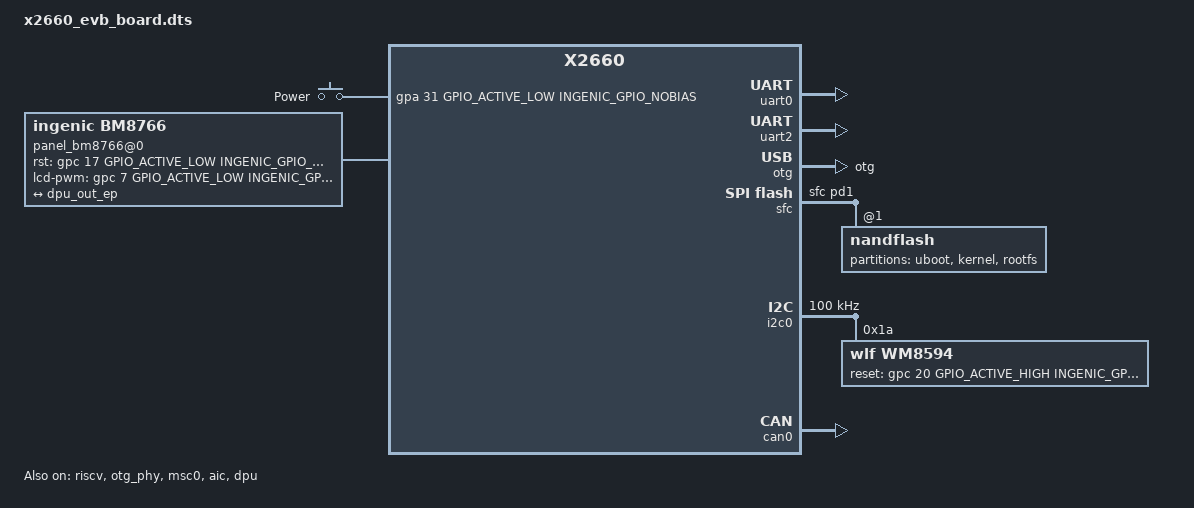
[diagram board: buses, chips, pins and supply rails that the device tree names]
/dts-v1/;

#include <dt-bindings/input/input.h>
#include "x2600.dtsi"

/ {
	compatible = "ingenic,x2660-evb-board", "ingenic,x2660";
	reserved-memory {
		#address-cells = <1>;
		#size-cells = <1>;
		ranges =<>;

		vdev0vring0: vdev0vring0@0x12400000{
		    compatible = "shared-dma-pool";
			reg = <0x12400000 0x1000>;
			no-map;
		};

		vdev0vring1: vdev0vring1@0x12401000{
		    compatible = "shared-dma-pool";
			reg = <0x12401000 0x1000>;
			no-map;
		};

		vdev0buffer: vdev0buffer@0x07F50000{
			 compatible = "shared-dma-pool";
			 reg = <0x07F50000 0x8000>;
		 };

		riscv_mcu_ram: riscv_mcu_ram@0x07F00000{
			 compatible = "shared-dma-pool";
			 reg = <0x07F00000 0x50000>;

		 };
	};

};

&riscv {
	status = "okay";
	memory-region=<&vdev0buffer &vdev0vring0 &vdev0vring1>;
	load-addr=<0x07f00000>;
};

&uart0 {
	status = "okay";
	pinctrl-names = "default";
	pinctrl-0 = <&uart0_pe>;
};

&uart2 {
	status = "okay";
	pinctrl-names = "default";
	pinctrl-0 = <&uart2_pd>;
};


//&pwm {
//	ingenic,pwm-outputs = <0>; /* <0 - 15> select which pwms are really used */
//}

&otg {
	g-use-dma;
	dr_mode = "otg"; // host,peripheral,otg
	status = "okay";
};

&otg_phy {
	ingenic,drvvbus-gpio = <&gpe 1 GPIO_ACTIVE_HIGH INGENIC_GPIO_NOBIAS>;
	status = "okay";
};

&msc0 {
	status = "okay";
	/*mmc-hs200-1_8v;*/
	pinctrl-names ="default";
	pinctrl-0 = <&msc0_4bit>;
	cap-mmc-highspeed;
	non-removable;
	max-frequency = <50000000>;
	bus-width = <4>;
	non-removable;
	voltage-ranges = <1800 3300>;

	/* special property */
	ingenic,wp-gpios = <0>;
	ingneic,cd-gpios = <0>;
	ingenic,rst-gpios = <0>;
};

&msc1 {
	status = "disable";
	/*mmc-hs200-1_8v;*/
	cap-mmc-highspeed;
	non-removable;
	max-frequency = <50000000>;
	bus-width = <4>;
	non-removable;
	voltage-ranges = <1800 3300>;

	/* special property */
	ingenic,wp-gpios = <0>;
	ingneic,cd-gpios = <0>;
	ingenic,rst-gpios = <0>;
};

/*
&mac0 {
	pinctrl-names = "default", "reset";
	pinctrl-0 = <&mac0_rgmii_p0_normal>, <&mac0_rgmii_p1_normal>;
	pinctrl-1 = <&mac0_rgmii_p0_rst>, <&mac0_rgmii_p1_normal>;
	status = "okay";
	ingenic,rst-gpio = <&gpb 0 GPIO_ACTIVE_LOW INGENIC_GPIO_NOBIAS>;
	ingenic,rst-ms = <10>;
	ingenic,mac-mode = <RGMII>;
	ingenic,mode-reg = <0xb00000e4>;
};
*/

&sfc {
	status = "okay";
	pinctrl-names = "default";
	pinctrl-0 = <&sfc_pd1>;
	ingenic,sfc-max-frequency = <200000000>;
	ingenic,sfc-init-frequency= <40000000>;
	ingenic,use_ofpart_info  = /bits/ 8 <0>;
	ingenic,spiflash_param_offset = <0>;

	nandflash@1 {
		partitions {
		compatible = "fixed-partitions";
		#address-cells = <1>;
		#size-cells = <1>;
		/* spi nand flash partition */
		partition@0 {
			label = "uboot";
			reg = <0x0000000 0x100000>;
		/*read-only;*/
		};
		partition@100000 {
			label = "kernel";
			reg = <0x100000 0x800000>;
		};
		partition@900000 {
			label = "rootfs";
			reg = <0x900000 0xf700000>;
		};
		};
	};

};

&aic {
	status = "okay";
	pinctrl-names = "default";
	pinctrl-0 = <&aic_pc>;
};

&i2c0{
	status = "okay";
	clock-frequency = <100000>;
	// timeout = <1000>;
	pinctrl-names = "default";
	pinctrl-0 = <&i2c0_pc>;

	wm8594: wm8594@0x1a{
		compatible = "wlf,wm8594";
		reg = <0x1a>;
		status = "okay";
		reset-gpios = <&gpc 20 GPIO_ACTIVE_HIGH INGENIC_GPIO_NOBIAS>;
	};
};

/ {

	extclk: extclk {
		clock-frequency = <24000000>;
	};

	gpio_keys: gpio_keys {
		   compatible = "gpio-keys";

		   power {
			   label = "Power";
			   linux,code = <KEY_POWER>;
			   gpios = <&gpa 31 GPIO_ACTIVE_LOW INGENIC_GPIO_NOBIAS>;
			   gpio-key,wakeup;
		   };
	   };

	sound_x2660_cdc {
		status = "okay";
		compatible = "ingenic,x2660-sound";
		ingenic,model = "x2660";
		ingenic,dai-link = "i2s-ecodec";
		ingenic,stream = "i2s-ecodec";
		ingenic,cpu-dai = <&i2s>;
		ingenic,platform = <&aic>;
		ingenic,codec =  <&wm8594>;
		ingenic,codec-dai = "wm8594-hifi";
	};
};
&jpegd {
	    status = "disable";
};

&jpege {
	    status = "disable";
};

&felix {
	status = "disable";
};

&pdma {
	status = "okay";
};

&pdma1 {
	status = "disable";
};

&sadc{
	status = "disable";
	pinctrl-names = "default";
	pinctrl-0 = <&aux_all_pe>;
	ingenic,has_dma_support = <0>;

};

&can0 {
	status = "okay";
	pinctrl-names = "default";
	pinctrl-0 = <&can0_pin>;
	ingenic,clk-freq = <24000000>;
};

&dpu {
	status = "okay";
	ingenic,disable-rdma-fb = <1>;
	ingenic,enable-rotator = <1>;	//00->rdma
	//Defines the init state of composer fb export infomations.
	ingenic,layer-exported = <1 0 0 0>;
	ingenic,layer-frames   = <2 2 2 2>;
	ingenic,layer-framesize = <1920 1080>, <1920 1080>, <1920 1080>, <1920 1080>;   //Max framesize for each layer.
	layer,color_mode        = <0 0 0 0>;                                    //src fmt,
	layer,src-size          = <1920 1080>, <1920 1080>, <1920 1080>, <1920 1080>; //Layer src size should smaller than framesize
        layer,target-size       = <1920 1080>, <1920 1080>, <1920 1080>, <1920 1080>;  //Target Size should smaller than src_size.
	layer,target-pos        = <0 0>, <0 0>, <0 0>, <0 0>; //target pos , the start point of the target panel.
	layer,enable            = <1 0 0 0>;                                    //layer enabled or disabled.
	ingenic,logo-pan-layer  = <0>;                                          //on which layer should init logo pan on.
	port {
		dpu_out_ep: endpoint {
		    remote-endpoint = <&panel_bm8766_ep>;
	    };
	};
};
/ {
	display-dbi {
		compatible = "simple-bus";
		#interrupt-cells = <1>;
		#address-cells = <1>;
		#size-cells = <1>;
		ranges = <>;
		panel_bm8766@0 {
			compatible = "ingenic,bm8766";
			status = "okay";
			pinctrl-names = "default";
			pinctrl-0 = <&tft_lcd_pb>;
//	ingenic,vdd-en-gpio = <&gpc  GPIO_ACTIVE_HIGH INGENIC_GPIO_NOBIAS>;
			ingenic,rst-gpio = <&gpc 17 GPIO_ACTIVE_LOW INGENIC_GPIO_NOBIAS>;
			ingenic,lcd-pwm-gpio = <&gpc 7 GPIO_ACTIVE_LOW INGENIC_GPIO_NOBIAS>;
			port {
			panel_bm8766_ep: endpoint {
			 remote-endpoint = <&dpu_out_ep>;
				 };
			};
		};
	};
};

#ifdef CONFIG_STAGE_MTF070WS
#include "x2660_evb_lcd/X2660_EVB_MIPI_LCD_MTF070.dtsi"
#endif


#ifdef CONFIG_STAGE_KHX101HW5
#include "x2660_evb_lcd/X2660_EVB_LVDS_LCD_KHX101HW5.dtsi"
#endif


#ifdef CONFIG_STAGE_HC050IV45011
#include "x2660_evb_lcd/X2660_EVB_MIPI_LCD_HC050IV.dtsi"
#endif

#ifdef CONFIG_STAGE_KD050WVFPA029
#include "x2660_evb_lcd/X2660_EVB_RGB_LCD_KD050.dtsi"
#endif

#ifdef STAGE_KD035HVFMD057
#include "x2660_evb_lcd/X2660_EVB_SLCD_KD035.dtsi"
#endif
